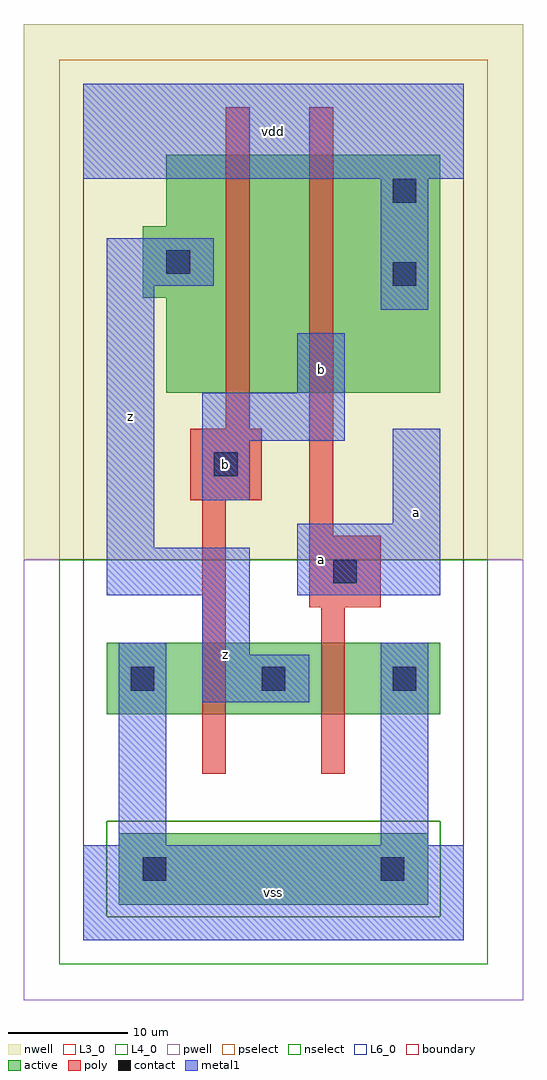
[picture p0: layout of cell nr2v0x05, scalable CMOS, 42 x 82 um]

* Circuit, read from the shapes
.subckt nr2v0x05 a b vdd vss z
M1 z b vss vss nfet w=6u l=2u
M2 vss a z vss nfet w=6u l=2u
M3 n1 b z n2 pfet w=20u l=2u
M4 vdd a n1 n2 pfet w=20u l=2u
.ends

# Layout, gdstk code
import gdstk
lib = gdstk.Library(unit=1e-6, precision=1e-09)
def R(c, l, rs):  # rectangles x0, y0, x1, y1
    for r in rs: c.add(gdstk.rectangle(r[:2], r[2:], *l))
def A(c, l, x, y, w, h, nx, ny, dx, dy):  # array of equal rectangles
    R(c, l, [(x+i*dx, y+j*dy, x+i*dx+w, y+j*dy+h) for i in range(nx) for j in range(ny)])
L3_0 = (3, 0)
L4_0 = (4, 0)
L6_0 = (6, 0)
contact = (25, 0)
pwell = (41, 0)
nwell = (42, 0)
active = (43, 0)
pselect = (44, 0)
nselect = (45, 0)
poly = (46, 0)
metal1 = (49, 0)
boundary = (63, 0)

nr2v0x05 = lib.new_cell('nr2v0x05')
R(nr2v0x05, L3_0, [(2,19,30,25)])
R(nr2v0x05, L4_0, [(7,46,30,54), (5,54,30,60), (7,60,30,66)])
R(nr2v0x05, L6_0, [(3,3,29,9)])
A(nr2v0x05, contact, 4, 21, 2, 2, 3, 1, 11, 0)
R(nr2v0x05, contact, [(5,5,7,7), (25,5,27,7), (21,30,23,32), (11,39,13,41), (26,55,28,57), (7,56,9,58), (26,62,28,64)])
R(nr2v0x05, pwell, [(-5,-5,37,32)])
R(nr2v0x05, nwell, [(-5,32,37,77)])
R(nr2v0x05, active, [(3,3,29,9), (2,19,30,25), (7,46,30,54), (5,54,30,60), (7,60,30,66)])
R(nr2v0x05, pselect, [(2,2,30,10), (-2,32,34,74)])
R(nr2v0x05, nselect, [(-2,-2,34,2), (-2,2,2,10), (30,2,34,10), (-2,10,34,32)])
R(nr2v0x05, poly, [(10,14,12,37), (20,14,22,28), (19,28,25,34), (19,34,21,70), (9,37,15,43), (12,43,14,70)])
R(nr2v0x05, metal1, [(0,0,32,8), (3,8,7,25), (25,8,29,25), (10,20,19,24), (10,24,14,29), (2,29,14,33), (18,29,30,35), (2,33,6,55), (26,35,30,43), (10,37,14,42), (10,42,22,46), (18,46,22,51), (25,53,29,64), (2,55,11,59), (0,64,32,72)])
R(nr2v0x05, boundary, [(0,0,32,72)])
nr2v0x05.add(gdstk.Label('z', (4,44), layer=49, texttype=0))
nr2v0x05.add(gdstk.Label('z', (12,24), layer=49, texttype=0))
nr2v0x05.add(gdstk.Label('b', (12,40), layer=49, texttype=0))
nr2v0x05.add(gdstk.Label('vss', (16,4), layer=49, texttype=0))
nr2v0x05.add(gdstk.Label('a', (20,32), layer=49, texttype=0))
nr2v0x05.add(gdstk.Label('b', (20,48), layer=49, texttype=0))
nr2v0x05.add(gdstk.Label('vdd', (16,68), layer=49, texttype=0))
nr2v0x05.add(gdstk.Label('a', (28,36), layer=49, texttype=0))

lib.write_gds('nr2v0x05.gds')
